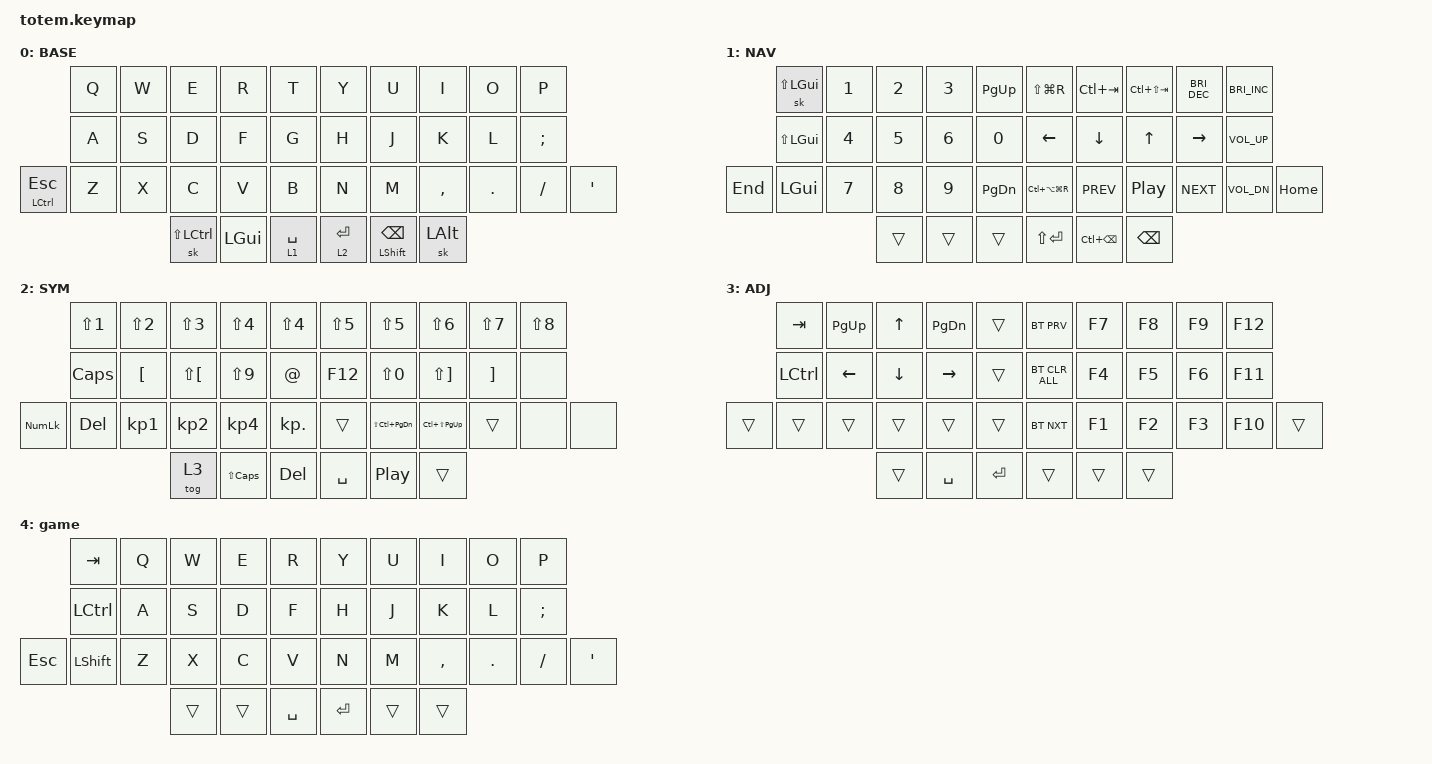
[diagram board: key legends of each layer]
#include <behaviors.dtsi>
#include <dt-bindings/zmk/bt.h>
#include <dt-bindings/zmk/keys.h>

#define BASE 0
#define NAV  1
#define SYM  2
#define ADJ  3

/* --- GLOBAL SETTINGS --- */

&mt {
    quick-tap-ms = <175>;
    global-quick-tap;
    flavor = "hold-preferred";
    tapping-term-ms = <200>;
};

/ {
    combos {
        compatible = "zmk,combos";

        tab {
            bindings = <&kp TAB>;
            key-positions = <0 1>;
        };

        tilde {
            bindings = <&kp GRAVE>;
            key-positions = <4 5>;
        };

        minus {
            bindings = <&kp MINUS>;
            key-positions = <8 9>;
        };

        rslash {
            bindings = <&kp NON_US_BACKSLASH>;
            key-positions = <14 15>;
        };

        plus {
            bindings = <&kp EQUAL>;
            key-positions = <29 30>;
        };

        rs {
            bindings = <&kp BACKSLASH>;
            key-positions = <25 26>;
        };
    };

    behaviors {
        /* FIXED: Now correctly binds keys for Home Row Mods */

        shiftdel: shiftdel {
            compatible = "zmk,behavior-hold-tap";
            label = "SHIFTDEL";
            bindings = <&kp>, <&kp>;

            #binding-cells = <2>;
            tapping-term-ms = <200>;
            hold-while-undecided;
            hold-trigger-key-positions = <0 1 2 3 4 5 6 7 8 9 10 11 12 13 14 15 16 17 18 19 20 21 22 23 24 25 26 27 28 29 30 31 32 33 36 37 35 34>;
        };

        fastermomentap: fastermomentap {
            compatible = "zmk,behavior-hold-tap";
            label = "FASTERMOMENTAP";
            bindings = <&mo>, <&kp>;

            #binding-cells = <2>;
            flavor = "balanced";
            tapping-term-ms = <200>;
            hold-while-undecided;
            hold-trigger-on-release;
            hold-trigger-key-positions = <0 1 2 3 4 5 6 7 8 9 10 11 12 13 14 15 16 17 18 19 20 21 22 23 24 25 26 27 28 29 30 31 32 33 36 37 35 34>;
        };

        tabbr: tabbr {
            compatible = "zmk,behavior-hold-tap";
            label = "TABBR";
            bindings = <&kp>, <&kp>;

            #binding-cells = <2>;
            tapping-term-ms = <200>;
            hold-trigger-key-positions = <0 1 2 3 4 5 6 7 8 9 10 11 12 13 14 15 16 17 18 19 20 21 22 23 24 25 26 27 28 29 30 31 32 33 36 37 34 35>;
            hold-while-undecided;
            hold-trigger-on-release;
            flavor = "tap-unless-interrupted";
        };
    };

    /* NEW: Hold both thumb keys (SPACE + ENTER) to reach ADJ layer */

    cond_layers { compatible = "zmk,conditional-layers"; };

    keymap {
        compatible = "zmk,keymap";

        base_layer {
            label = "BASE";
            bindings = <
                               &kp Q  &kp W  &kp E                 &kp R         &kp T                      &kp Y                    &kp U                           &kp I         &kp O    &kp P
                               &kp A  &kp S  &kp D                 &kp F         &kp G                      &kp H                    &kp J                           &kp K         &kp L    &kp SEMICOLON
&shiftdel LEFT_CONTROL ESCAPE  &kp Z  &kp X  &kp C                 &kp V         &kp B                      &kp N                    &kp M                           &kp COMMA     &kp DOT  &kp FSLH       &kp SQT
                                             &sk LS(LEFT_CONTROL)  &kp LEFT_GUI  &fastermomentap 1 SPACE    &fastermomentap 2 ENTER  &shiftdel LEFT_SHIFT BACKSPACE  &sk LEFT_ALT
            >;
        };

        nav_layer {
            label = "NAV";
            bindings = <
         &sk LS(LEFT_GUI)  &kp N1  &kp N2  &kp N3  &kp PG_UP    &kp LS(LG(R))      &kp LC(TAB)        &kp LC(LS(TAB))   &kp C_BRI_DEC  &kp C_BRI_INC
         &kp LS(LGUI)      &kp N4  &kp N5  &kp N6  &kp N0       &kp LEFT           &kp DOWN           &kp UP            &kp RIGHT      &kp C_VOL_UP
&kp END  &kp LEFT_GUI      &kp N7  &kp N8  &kp N9  &kp PG_DN    &kp LC(LA(LG(R)))  &kp C_PREV         &kp C_PLAY_PAUSE  &kp C_NEXT     &kp C_VOL_DN   &kp HOME
                                   &trans  &trans  &trans       &kp LS(ENTER)      &kp LC(BACKSPACE)  &kp BSPC
            >;
        };

        sim_layer {
            label = "SYM";
            bindings = <
            &kp LS(N1)  &kp LS(N2)  &kp LS(N3)    &kp LS(N4)        &kp LS(N4)    &kp LS(N5)  &kp LS(N5)             &kp LS(N6)           &kp LS(N7)  &kp LS(N8)
            &kp CAPS    &kp LBKT    &kp LS(LBKT)  &kp LS(N9)        &kp AT        &kp F12     &kp LS(N0)             &kp LS(RBKT)         &kp RBKT    &none
&kp KP_NUM  &kp DEL     &kp KP_N1   &kp KP_N2     &kp KP_N4         &kp KP_DOT    &trans      &kp LS(LC(PAGE_DOWN))  &kp LC(LS(PAGE_UP))  &trans      &none       &none
                                    &tog 3        &kp LS(CAPSLOCK)  &kp DEL       &kp SPACE   &kp C_PP               &trans
            >;
        };

        adjust_layer {
            label = "ADJ";
            bindings = <
        &kp TAB    &kp PG_UP  &kp UP          &kp PG_DN  &trans       &bt BT_PRV      &kp F7  &kp F8  &kp F9  &kp F12
        &kp LCTRL  &kp LEFT   &kp DOWN_ARROW  &kp RIGHT  &trans       &bt BT_CLR_ALL  &kp F4  &kp F5  &kp F6  &kp F11
&trans  &trans     &trans     &trans          &trans     &trans       &bt BT_NXT      &kp F1  &kp F2  &kp F3  &kp F10  &trans
                              &trans          &kp SPACE  &kp ENTER    &trans          &trans  &trans
            >;
        };

        game {
            bindings = <
         &kp TAB    &kp Q  &kp W   &kp E   &kp R        &kp Y      &kp U   &kp I      &kp O    &kp P
         &kp LCTRL  &kp A  &kp S   &kp D   &kp F        &kp H      &kp J   &kp K      &kp L    &kp SEMI
&kp ESC  &kp LSHFT  &kp Z  &kp X   &kp C   &kp V        &kp N      &kp M   &kp COMMA  &kp DOT  &kp FSLH  &kp APOS
                           &trans  &trans  &kp SPACE    &kp ENTER  &trans  &trans
            >;
        };
    };
};
